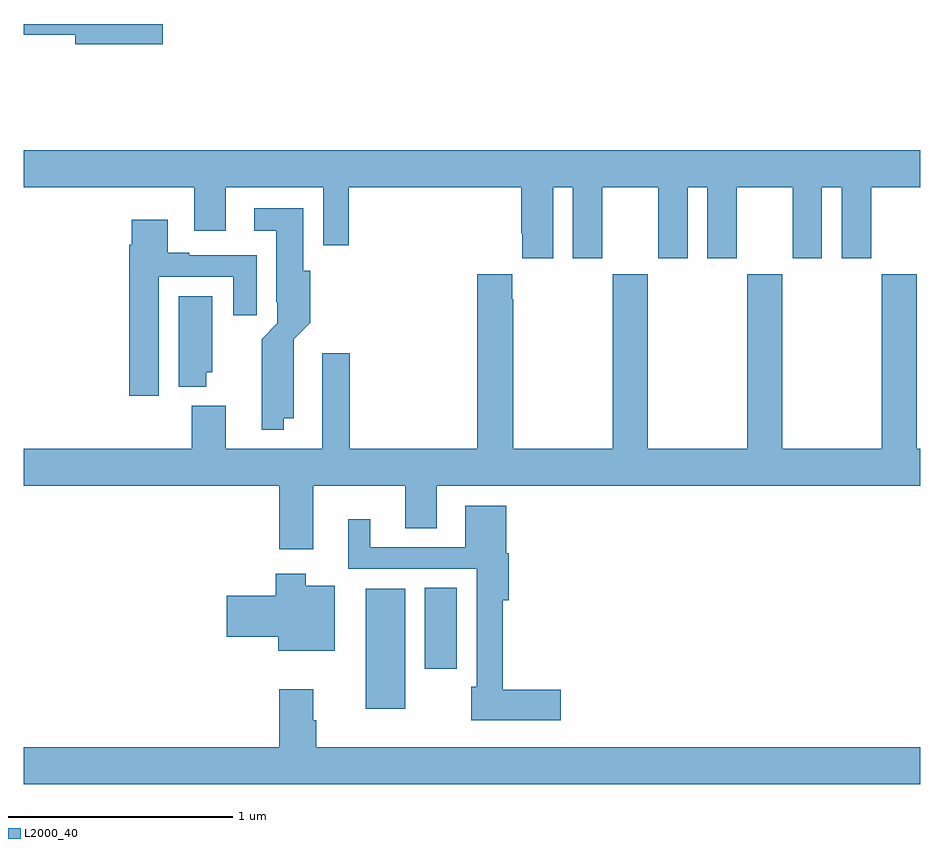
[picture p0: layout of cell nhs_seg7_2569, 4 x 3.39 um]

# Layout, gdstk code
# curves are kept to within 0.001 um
import gdstk
lib = gdstk.Library(unit=1e-6, precision=1e-09)
def R(c, l, rs):  # rectangles x0, y0, x1, y1
    for r in rs: c.add(gdstk.rectangle(r[:2], r[2:], *l))
def P(c, l, *ps):  # polygons
    for p in ps: c.add(gdstk.Polygon(p, *l))
L2000_40 = (2000, 40)

nhs_seg7_2569 = lib.new_cell('nhs_seg7_2569')
R(nhs_seg7_2569, L2000_40, [(280.526,1008.944,280.702,1009.48), (280.79,1009.122,280.933,1009.484)])
P(nhs_seg7_2569, L2000_40, [(279.619,1012),(279,1012),(279,1011.952),(279.23,1011.952),(279.23,1011.91),(279.619,1011.91)],
  [(281.362,1011.272),(281.45,1011.272),(281.45,1010.955),(281.581,1010.955),(281.581,1011.272),(281.831,1011.272),(281.831,1010.955),(281.962,1010.955),(281.962,1011.272),(282.05,1011.272),(282.05,1010.955),(282.181,1010.955),(282.181,1011.272),(282.431,1011.272),(282.431,1010.955),(282.562,1010.955),(282.562,1011.272),(282.65,1011.272),(282.65,1010.955),(282.781,1010.955),(282.781,1011.272),(283,1011.272),(283,1011.436),(279,1011.436),(279,1011.272),(279.761,1011.272),(279.761,1011.078),(279.901,1011.078),(279.901,1011.272),(280.335,1011.272),(280.335,1011.012),(280.451,1011.012),(280.451,1011.272),(281.219,1011.272),(281.219,1011.067),(281.225,1011.067),(281.225,1010.955),(281.362,1010.955)],
  [(280.159,1010.24),(280.204,1010.24),(280.205,1010.594),(280.277,1010.666),(280.277,1010.898),(280.246,1010.898),(280.246,1011.178),(280.029,1011.178),(280.029,1011.077),(280.127,1011.077),(280.127,1010.758),(280.131,1010.758),(280.131,1010.664),(280.061,1010.594),(280.062,1010.189),(280.159,1010.189)],
  [(279.601,1010.871),(279.935,1010.871),(279.935,1010.7),(280.039,1010.7),(280.039,1010.967),(279.739,1010.967),(279.739,1010.98),(279.643,1010.98),(279.643,1011.127),(279.482,1011.127),(279.482,1011.014),(279.47,1011.014),(279.47,1010.34),(279.601,1010.34)],
  [(280.291,1009.94),(280.703,1009.94),(280.703,1009.75),(280.843,1009.75),(280.843,1009.94),(283,1009.94),(283,1010.104),(282.984,1010.104),(282.984,1010.884),(282.829,1010.884),(282.829,1010.104),(282.384,1010.104),(282.384,1010.884),(282.229,1010.884),(282.229,1010.104),(281.784,1010.104),(281.784,1010.884),(281.629,1010.884),(281.629,1010.104),(281.184,1010.104),(281.184,1010.771),(281.179,1010.771),(281.179,1010.884),(281.024,1010.884),(281.024,1010.104),(280.454,1010.104),(280.454,1010.53),(280.331,1010.53),(280.331,1010.104),(279.901,1010.104),(279.901,1010.296),(279.749,1010.296),(279.749,1010.104),(279,1010.104),(279,1009.94),(280.139,1009.94),(280.139,1009.656),(280.291,1009.656)],
  [(279.814,1010.445),(279.841,1010.445),(279.841,1010.786),(279.692,1010.786),(279.692,1010.381),(279.814,1010.381)],
  [(281.395,1009.028),(281.138,1009.028),(281.138,1009.427),(281.165,1009.427),(281.165,1009.638),(281.152,1009.638),(281.152,1009.849),(280.97,1009.849),(280.97,1009.665),(280.546,1009.665),(280.546,1009.789),(280.448,1009.789),(280.448,1009.569),(281.022,1009.569),(281.022,1009.041),(280.996,1009.041),(280.996,1008.893),(281.395,1008.893)],
  [(280.387,1009.492),(280.258,1009.492),(280.258,1009.546),(280.124,1009.546),(280.124,1009.448),(279.906,1009.448),(279.906,1009.265),(280.136,1009.265),(280.136,1009.202),(280.387,1009.202)],
  [(283,1008.772),(280.304,1008.772),(280.304,1008.893),(280.291,1008.893),(280.291,1009.03),(280.139,1009.03),(280.139,1008.772),(279,1008.772),(279,1008.608),(283,1008.608)])

lib.write_gds('nhs_seg7_2569.gds')
